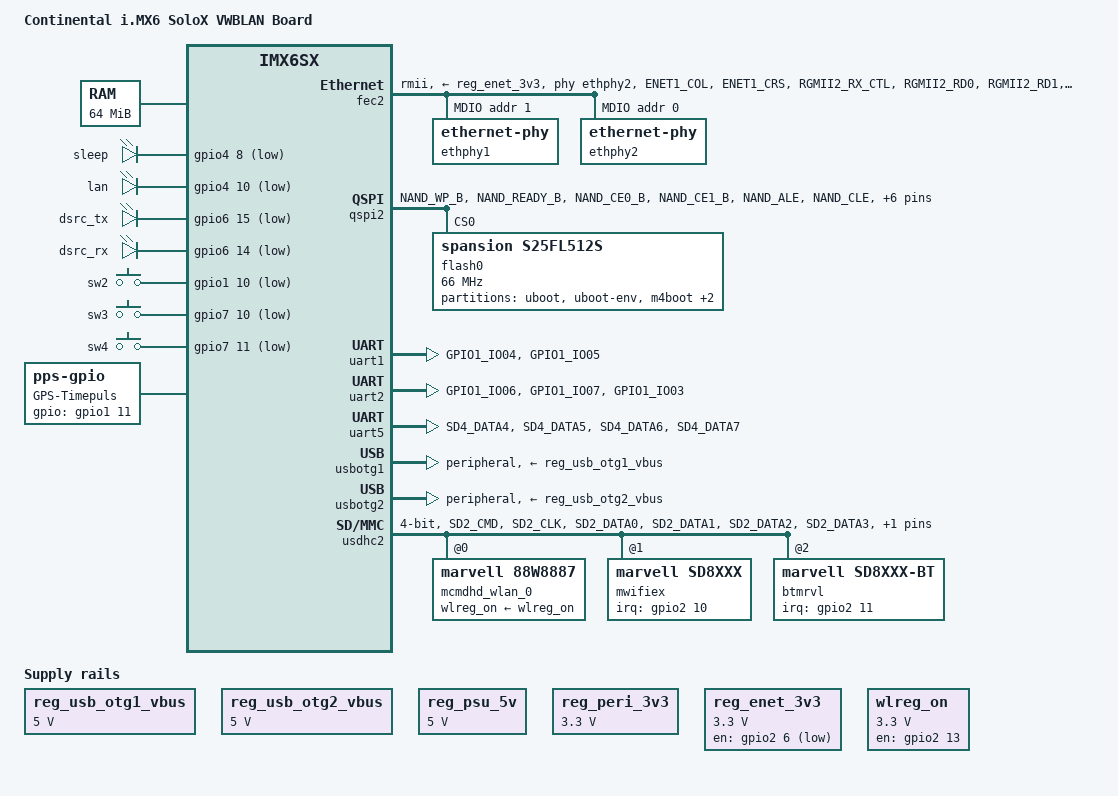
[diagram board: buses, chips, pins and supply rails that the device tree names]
/*
 * Copyright (C) 2014 Freescale Semiconductor, Inc.
 *
 * This program is free software; you can redistribute it and/or modify
 * it under the terms of the GNU General Public License version 2 as
 * published by the Free Software Foundation.
 */

/dts-v1/;

#include <dt-bindings/gpio/gpio.h>
#include <dt-bindings/input/input.h>
#include "imx6sx.dtsi"

/ {
	model = "Continental i.MX6 SoloX VWBLAN Board";
	compatible = "fsl,imx6sx-vwblan", "fsl,imx6sx";

	chosen {
		stdout-path = &uart1;
	};

	memory {
		reg = <0x80000000 0x4000000>;
	};

	/* LEDs
	Name	gpio		pin				active
	LED1	GPIO4_IO08	NAND_DATA04 	High
	LED2	GPIO4_IO10	NAND_DATA06 	High
	LED3	GPIO6_IO15	SD4_DATA1	 	High
	LED4	GPIO6_IO14	SD4_DATA0 		High
	*/
	leds {
		compatible = "gpio-leds";
		pinctrl-names = "default";
		pinctrl-0 = <&pinctrl_gpio_leds>;

		led1: sleep {
			label = "sleep";
			gpios = <&gpio4 8 1>;
			default-state = "on";
			linux,default-trigger = "default-on";
		   };
		led2: lan {
			label = "lan";
			gpios = <&gpio4 10 1>;
			default-state = "off";
			linux,default-trigger = "heartbeat";
		   };
		led3: dsrc_tx {
			label = "dsrc_tx";
			gpios = <&gpio6 15 1>;
			default-state = "off";
			linux,default-trigger = "heartbeat";
		   };
		led4: dsrc_rx {
			label = "dsrc_rx";
			gpios = <&gpio6 14 1>;
			default-state = "off";
			linux,default-trigger = "heartbeat";
		   };
	};

	/* GPIOs
	Name	gpio		pin				active
	SW1		*** 5V ***
	SW2		GPIO1_IO10	GPIO1_IO10 		Low
	SW3		GPIO7_IO10	USB_H_DATA 		Low
	SW4		GPIO7_IO11	USB_H_STROBE 	Low
	*/
	gpio_keys_polled {
		compatible = "gpio-keys-polled";
		pinctrl-names = "default";
		pinctrl-0 = <&pinctrl_gpio_keys_polled>;
		poll-interval = <1000>;
		#address-cells = <1>;
		#size-cells = <0>;

		sw2 {
			label = "sw2";
			gpios = <&gpio1 10 GPIO_ACTIVE_LOW>;
			linux,code = <49>;
		};
		sw3 {
			label = "sw3";
			gpios = <&gpio7 10 GPIO_ACTIVE_LOW>;
			linux,code = <50>;
		};
		sw4 {
			label = "sw4";
			gpios = <&gpio7 11 GPIO_ACTIVE_LOW>;
			linux,code = <51>;
		};
	};

	pps {
		compatible = "pps-gpio";
		pinctrl-names = "default";
		pinctrl-0 = <&pinctrl_gpio_pps>;
		label = "GPS-Timepuls";
		gpios = <&gpio1 11 GPIO_ACTIVE_HIGH>;
		assert-falling-edge;
		status = "okay";
	};

	
	
	/*
	gpio-keys {
		compatible = "gpio-keys";
		pinctrl-names = "default";
		pinctrl-0 = <&pinctrl_gpio_keys>;
		#address-cells = <1>;
		#size-cells = <0>;

		pps {
			compatible = "pps-gpio";
			label = "GPS-Timepuls";
			gpios = <&gpio1 11 GPIO_ACTIVE_HIGH>;
			assert-falling-edge;
			linux,code = <84>;
			status = "okay";
		};
	};

	gpio-reset {
		compatible = "linux,gpio-reset";

		wlan_reset:wlan {
			#reset-cells = <0>;
			gpios = <&gpio2 13 GPIO_ACTIVE_LOW>;
			asserted-state = <0>;
			duration-ms = <100>;
			auto;
		};
		gps_reset:gps {
			#reset-cells = <0>;
			gpios = <&gpio4 20 GPIO_ACTIVE_LOW>;
			asserted-state = <0>;
			duration-ms = <100>;
		};
	}

	ethernet_phy_reset:ethernet_phy {
		#reset-cells = <0>;
		gpios = <&gpio7 6 GPIO_ACTIVE_LOW>;
		asserted-state = <0>;
		duration-ms = <100>;
	};

*/
	regulators {
		compatible = "simple-bus";
		#address-cells = <1>;
		#size-cells = <0>;

		reg_usb_otg1_vbus: regulator@0 {
			compatible = "regulator-fixed";
			reg = <0>;
			pinctrl-names = "default";
			regulator-name = "usb_otg1_vbus";
			regulator-min-microvolt = <5000000>;
			regulator-max-microvolt = <5000000>;
			regulator-always-on;
		};

		reg_usb_otg2_vbus: regulator@1 {
			compatible = "regulator-fixed";
			reg = <1>;
			pinctrl-names = "default";
			regulator-name = "usb_otg2_vbus";
			regulator-min-microvolt = <5000000>;
			regulator-max-microvolt = <5000000>;
			regulator-always-on;
		};

		reg_psu_5v: regulator@2 {
			compatible = "regulator-fixed";
			reg = <2>;
			regulator-name = "PSU-5V0";
			regulator-min-microvolt = <5000000>;
			regulator-max-microvolt = <5000000>;
		};

		reg_peri_3v3: regulator@3 {
			compatible = "regulator-fixed";
			reg = <3>;
			pinctrl-names = "default";
			regulator-name = "peri_3v3";
			regulator-min-microvolt = <3300000>;
			regulator-max-microvolt = <3300000>;
			regulator-always-on;
		};

		reg_enet_3v3: regulator@4 {
			compatible = "regulator-fixed";
			reg = <4>;
			pinctrl-names = "default";
			pinctrl-0 = <&pinctrl_enet_3v3>;
			regulator-name = "enet_3v3";
			regulator-min-microvolt = <3300000>;
			regulator-max-microvolt = <3300000>;
			gpios = <&gpio2 6 GPIO_ACTIVE_LOW>;
		};

		wlreg_on: fixedregulator@100 {
			compatible = "regulator-fixed";
			regulator-min-microvolt = <3300000>;
			regulator-max-microvolt = <3300000>;
			regulator-name = "wlreg_on";
			gpio = <&gpio2 13 0x04>;
			startup-delay-us = <0x11170>;
			regulator-always-on;
			enable-active-high;
		};
	};
};

/*
&fec1 {
	pinctrl-names = "default";
	pinctrl-0 = <&pinctrl_enet1>;
	phy-supply = <&reg_enet_3v3>;
	phy-mode = "rgmii";
	status = "okay";
};
*/

&fec2 {
	pinctrl-names = "default";
	pinctrl-0 = <&pinctrl_enet2>;
	pinctrl-assert-gpios = <&gpio5 14 GPIO_ACTIVE_LOW>;
	phy-supply = <&reg_enet_3v3>;
	phy-mode = "rmii";
	phy-id = <0>;
	phy-handle = <&ethphy2>;
	status = "okay";

	mdio {
		#address-cells = <1>;
		#size-cells = <0>;

		ethphy1: ethernet-phy@1 {
			reg = <1>;
			max-speed = <100>;
		};

		ethphy2: ethernet-phy@2 {
			reg = <0>;
			max-speed = <100>;
		};
	};
};

/*
&snvs_poweroff {
	 status = "okay";
};
*/

/*
&qspi2 {
	ddrsmp=<1>;
	fsl,qspi-has-second-chip;
    spi-max-frequency = <66000000>;
	spi-max-frequency = <29000000>;
	interrupts = <GIC_SPI 107 IRQ_TYPE_LEVEL_HIGH>, <GIC_SPI 109 IRQ_TYPE_LEVEL_HIGH>;
	reg = <0x021e4000 0x4000>, <0x40000000 0x10000000>;
	fsl,nor-size = <0x1000000>;

	flash0: s25fl128s@0 {
		reg = <0>;
		#address-cells = <1>;
		#size-cells = <1>;
		compatible = "spansion,s25fl128s";
		spi-max-frequency = <66000000>;
    };

    flash1: s25fl128s@1 {
            reg = <1>;
            #address-cells = <1>;
            #size-cells = <1>;
            compatible = "spansion,s25fl128s";
            spi-max-frequency = <66000000>;
    };
}
*/


&qspi2 {
	pinctrl-names = "default";
	pinctrl-0 = <&pinctrl_qspi2>;
	status = "okay";
	fsl,nor-size = <0x04000000>;

    flash0: s25fl512s@0 {
		reg = <0>;
		#address-cells = <1>;
		#size-cells = <1>;
		compatible = "spansion,s25fl512s";
		spi-max-frequency = <66000000>;

		partition@00000000 {
			label = "uboot";
			reg = <0x0000000 0x0180000>; /* 1536KB */
		};

		partition@0180000 {
			label = "uboot-env";
			reg = <0x0180000 0x00040000>; /* 256KB */
		};

		partition@01C0000 {
			label = "m4boot";
			reg = <0x01C0000 0x00040000>; /* 256KB */
		};

		partition@0200000 {
			label = "kernel";
			reg = <0x0200000 0x00300000>; /* 3MB */
		};

		partition@0500000 {
			label = "system";
			reg = <0x0500000 0x03b00000>; /* -- */
		};
	};
};

/*
&ecspi1 {
	pinctrl-names = "default";
	pinctrl-0 = <&pinctrl_ecspi1>;
	status = "okay";
};
*/

&uart1 {
	pinctrl-names = "default";
	pinctrl-0 = <&pinctrl_uart1>;
	status = "okay";
};

/* for IMX GPS-Uart */
&uart2 {
	pinctrl-names = "default";
	pinctrl-0 = <&pinctrl_uart2>;
	status = "okay";
};

&uart5 { /* for IMX Debug-Uart */
	pinctrl-names = "default";
	pinctrl-0 = <&pinctrl_uart5>;
	fsl,uart-has-rtscts;
	status = "okay";
};

/*  pinctrl-names = "default";
	pinctrl-0 = <&pinctrl_usb_otg1_id>;
	dr_mode = "peripheral";


*/

&usbotg1 {
	vbus-supply = <&reg_usb_otg1_vbus>;
	pinctrl-names = "default";
/*	pinctrl-0 = <&pinctrl_usb_otg1_id>; */
	dr_mode = "peripheral";
/*	dr_mode = "host"; */
	status = "okay";
};

&usbotg2 {
	vbus-supply = <&reg_usb_otg2_vbus>;
	dr_mode = "peripheral";
	status = "okay";
};

&usdhc2 {
	pinctrl-names = "default";
	pinctrl-0 = <&pinctrl_usdhc2>;
	no-1-8-v;
	wlan-supply = <&wlreg_on>;
	keep-power-in-suspend;
	cap-power-off-card;
	enable-sdio-wakeup;
	max-frequency = <20000000>;
	bus-width = <4>;
	status = "okay";

	mcmdhd_wlan_0: mcmdhd_wlan@0 {
		compatible = "marvell,88w8887";
		wlreg_on-supply = <&wlreg_on>;
	};

	mwifiex: mwifiex@1 {
		compatible = "marvell,sd8xxx";
		reg = <1>;
		interrupt-parent = <&gpio2>;
		interrupts = <10 IRQ_TYPE_LEVEL_LOW>;
		marvell,caldata_00_txpwrlimit_2g_cfg_set = /bits/ 8 <
	0x01 0x00 0x06 0x00 0x08 0x02 0x89 0x01>;
		marvell,wakeup-pin = <1>;
	};
	
	btmrvl: btmrvl@2 {
		compatible = "marvell,sd8xxx-bt";
		reg = <2>;
		interrupt-parent = <&gpio2>;
		interrupts = <11 IRQ_TYPE_LEVEL_LOW>;
		btmrvl,cal-data = /bits/ 8 <
			0x37 0x01 0x1c 0x00 0xff 0xff 0xff 0xff 0x01 0x7f 0x04 0x02
			0x00 0x00 0xba 0xce 0xc0 0xc6 0x2d 0x00 0x00 0x00 0x00 0x00
			0x00 0x00 0xf0 0x00>;
		btmrvl,wakeup-pin = <0x0d>;
		btmrvl,wakeup-gap = <0x64>;
	};
};

/*
	non-removable;
	broken-cd;
	wifi-host;	* pull in card detect mechanism *
	max-frequency = <40000000>;
	bus-width = <4>;
	cap-sdio-irq;
	cap-sd-highspeed;
	sd-uhs-sdr25;
	sd-uhs-sdr50;
	sd-uhs-sdr104;
*/
/*
CONFIG bits definition:
	PAD_CTL_HYS                     (1 << 16) 0x80000  no pad control
	PAD_CTL_PUS_100K_DOWN           (0 << 14) 0x0....
	PAD_CTL_PUS_47K_UP              (1 << 14) 0x0....
	PAD_CTL_PUS_100K_UP             (2 << 14) 0x0....
	PAD_CTL_PUS_22K_UP              (3 << 14) 0x0....

	PAD_CTL_PUE                     (1 << 13) 0x.4...	Pull Keep Select
	PAD_CTL_PKE                     (1 << 12) 0x.2...	Pull Keep Enable
	PAD_CTL_ODE                     (1 << 11) 0x.1...    open Drain Mode

	PAD_CTL_SPEED_LOW               (0 << 6) 0x...0.
	PAD_CTL_SPEED_MED               (1 << 6) 0x...B.
	PAD_CTL_SPEED_HIGH              (3 << 6) 0x...C.

	PAD_CTL_DSE_DISABLE             (0 << 3)
	PAD_CTL_DSE_260ohm              (1 << 3)
	PAD_CTL_DSE_130ohm              (2 << 3)
	PAD_CTL_DSE_87ohm               (3 << 3)
	PAD_CTL_DSE_65ohm               (4 << 3)
	PAD_CTL_DSE_52ohm               (5 << 3)
	PAD_CTL_DSE_43ohm               (6 << 3)
	PAD_CTL_DSE_37ohm               (7 << 3)

	PAD_CTL_SRE_FAST                (1 << 0)
	PAD_CTL_SRE_SLOW                (0 << 0)


Bit(s) 	Field 	Description 	Remarks
16 		HYS 	0 - CMOS input
				1 - Schmitt trigger input
15-14 	PUS 	00 - 100 kOhm Pull Down
				01 - 47 kOhm Pull Up
				10 - 100 kOhm Pull Up
				11 - 22 kOhm Pull Up
13 		PUE 	0 - Keeper enable
				1 - Pull enable 	Selection between keeper and pull up/down function
12 		PKE 	0 - Pull/Keeper Disabled
				1 - Pull/Keeper Enabled Enable 	enable keeper or pull up/down function

11 		ODE 	0 - Output is CMOS
				1 - Output is open drain

7-6 	SPEED 	00 - Low (50 MHz)
				01 - Medium (100,150 MHz)
				10 - Medium (100,150 MHz)
				11 - High (100,150,200 MHz)
5-3 	DSE 	000 - output driver disabled (Hi Z)
				001 - 150 Ohm (240 Ohm if pad is DDR)
				010 - 75 Ohm (120 Ohm if pad is DDR)
				011 - 50 Ohm (80 Ohm if pad is DDR)
				100 - 37 Ohm 60 hm if pad is DDR)
				101 - 30 Ohm (48 Ohm if pad is DDR)
				110 - 25 Ohm
				111 - 20 Ohm (34 Ohm if pad is DDR)
0 		SRE 	0 - Slow Slew Rate
				1 - Fast Slew Rate

		mmc:clk	  0x17059  1.01 1 0.0000.01 01.1 00 1    
                     0x04009  0.00 1 0.0000.00 00.1 00 0   
			cmd/D0	 0x1B069  1.10.11.0000.01.10.1 00 1 
							HYS	PUS	PUE	PKE	ODE	xxx	SPE	DSE	xx	SRC	
		wlan_PDN: 0x13069     1	00	1	1	0	000	01	101	00	1
		*/


&iomuxc {
	imx6x-vwblan {
		pinctrl_gpio_leds: gpioledsgrp {
		   fsl,pins = <
				MX6SX_PAD_NAND_DATA04__GPIO4_IO_8     0x1b0b0
				MX6SX_PAD_NAND_DATA06__GPIO4_IO_10    0x1b0b0
				MX6SX_PAD_SD4_DATA1__GPIO6_IO_15      0x1b0b0
				MX6SX_PAD_SD4_DATA0__GPIO6_IO_14      0x1b0b0
					   >;
		 };

		 pinctrl_gpio_keys_polled: gpio_keypolledgrp {
			fsl,pins = <
				MX6SX_PAD_RGMII1_TD0__GPIO5_IO_6		0x17059
				MX6SX_PAD_GPIO1_IO10__GPIO1_IO_10		0x17059
				MX6SX_PAD_USB_H_DATA__GPIO7_IO_10		0x17059
				MX6SX_PAD_USB_H_STROBE__GPIO7_IO_11		0x17059

			>;
		};
		
		/* GPS Time Pulse  */
		pinctrl_gpio_pps: gpio_pps {
			fsl,pins = <
				MX6SX_PAD_GPIO1_IO11__GPIO1_IO_11	0x130b0		/* 100k Pull down */
			>;
		};

		pinctrl_enet_3v3: enet3v3grp {
			fsl,pins = <
				MX6SX_PAD_ENET2_COL__GPIO2_IO_6         0x80000000
			>;
		};

		pinctrl_enet2: enet2grp {
			fsl,pins = <
				MX6SX_PAD_ENET1_COL__ENET2_MDC 0xa0b1
				MX6SX_PAD_ENET1_CRS__ENET2_MDIO 0xa0b1
				MX6SX_PAD_RGMII2_RX_CTL__ENET2_RX_EN 0x3081
				MX6SX_PAD_RGMII2_RD0__ENET2_RX_DATA_0  0x3081
				MX6SX_PAD_RGMII2_RD1__ENET2_RX_DATA_1  0x3081
				MX6SX_PAD_RGMII2_TD0__ENET2_TX_DATA_0 0xa0b1
				MX6SX_PAD_RGMII2_TD1__ENET2_TX_DATA_1 0xa0b1
				MX6SX_PAD_RGMII2_TX_CTL__ENET2_TX_EN 0xa0b1
				MX6SX_PAD_ENET2_TX_CLK__ENET2_REF_CLK2 0x3081
				MX6SX_PAD_RGMII2_RD2__GPIO5_IO_14 0x80000000
			>;
		};

        /**  DEBUG UART   /dev/ttymxc0 **/
		pinctrl_uart1: uart1grp {
			fsl,pins = <
				MX6SX_PAD_GPIO1_IO04__UART1_TX		0x1b0b1
				MX6SX_PAD_GPIO1_IO05__UART1_RX		0x1b0b1
			>;
		};

		/**  GPS UART   /dev/ttymxc1 **/
		pinctrl_uart2: uart2grp {
			fsl,pins = <
				MX6SX_PAD_GPIO1_IO06__UART2_TX		0x1b0b1
				MX6SX_PAD_GPIO1_IO07__UART2_RX		0x1b0b1
				MX6SX_PAD_GPIO1_IO03__GPIO1_IO_3	0x00818				/* GPS Reset open Drain*/
			>;
		};
		/**  Bluetooth UART   /dev/ttymxc4 **/
		pinctrl_uart5: uart5grp {
			fsl,pins = <
				MX6SX_PAD_SD4_DATA4__UART5_RX		0x1b0b1			/* 100K pull down */
				MX6SX_PAD_SD4_DATA5__UART5_TX		0x1b0b1
				MX6SX_PAD_SD4_DATA6__UART5_RTS_B	0x1b0b1
				MX6SX_PAD_SD4_DATA7__UART5_CTS_B	0x1b0b1
			>;
		};

		pinctrl_qspi2: qspi2grp {
			fsl,pins = <
				MX6SX_PAD_NAND_WP_B__QSPI2_A_DATA_0	 	0x70f1
				MX6SX_PAD_NAND_READY_B__QSPI2_A_DATA_1	0x70f1
				MX6SX_PAD_NAND_CE0_B__QSPI2_A_DATA_2	0x70f1
				MX6SX_PAD_NAND_CE1_B__QSPI2_A_DATA_3	0x70f1
				MX6SX_PAD_NAND_ALE__QSPI2_A_SS0_B		0x70f1
				MX6SX_PAD_NAND_CLE__QSPI2_A_SCLK		0x70f1

				MX6SX_PAD_NAND_DATA01__QSPI2_B_DATA_0   0x70f1
				MX6SX_PAD_NAND_DATA00__QSPI2_B_DATA_1   0x70f1
				MX6SX_PAD_NAND_WE_B__QSPI2_B_DATA_2     0x70f1
				MX6SX_PAD_NAND_RE_B__QSPI2_B_DATA_3     0x70f1
				MX6SX_PAD_NAND_DATA02__QSPI2_B_SCLK     0x70f1
				MX6SX_PAD_NAND_DATA03__QSPI2_B_SS0_B    0x70f1
			>;
		};


		pinctrl_usb_otg1_id: usbotg1idgrp {
			fsl,pins = <
				MX6SX_PAD_GPIO1_IO10__ANATOP_OTG1_ID	0x17059
			>;
		};

		pinctrl_usdhc2: usdhc2grp {
			fsl,pins = <
				MX6SX_PAD_SD2_CMD__USDHC2_CMD		0x17069
				MX6SX_PAD_SD2_CLK__USDHC2_CLK		0x04008
				MX6SX_PAD_SD2_DATA0__USDHC2_DATA0	0x17069
				MX6SX_PAD_SD2_DATA1__USDHC2_DATA1	0x17069
				MX6SX_PAD_SD2_DATA2__USDHC2_DATA2	0x17069
				MX6SX_PAD_SD2_DATA3__USDHC2_DATA3	0x17069
				MX6SX_PAD_KEY_COL3__GPIO2_IO_13		0x13069   /* WL_REG_ON */

			>;
		};
	};
};
